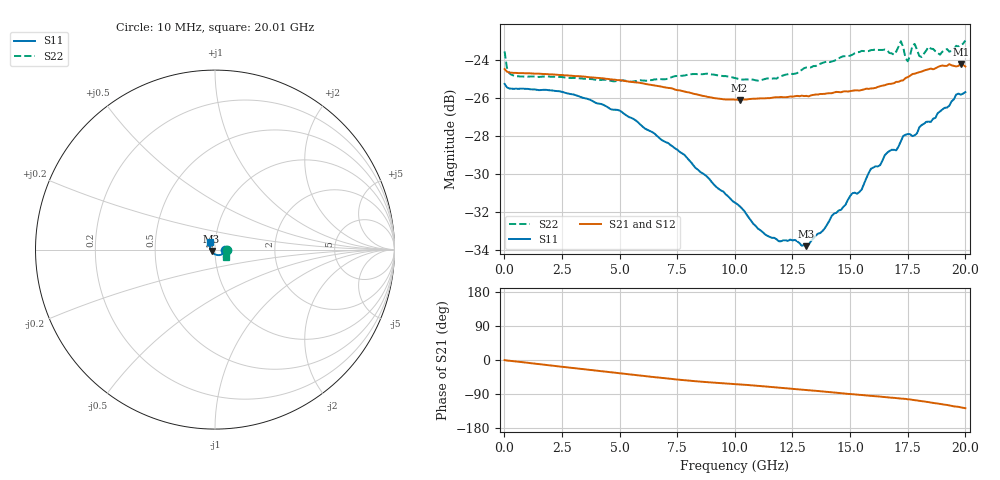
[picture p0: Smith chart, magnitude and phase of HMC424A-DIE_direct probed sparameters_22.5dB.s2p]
!s2p File: Measurements: S11, S21, S12, S22
# GHz S dB R 50.0
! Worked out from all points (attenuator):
!   201 points, 10 MHz to 20.01 GHz, reference 50 ohm
!   highest |S21| = -24.20 dB at 19.81 GHz (marker M1); lowest = -26.1 dB at 10.21 GHz (marker M2)
!   lowest |S11| = -33.8 dB at 13.11 GHz (marker M3), VSWR 1.04, Z = 48.1 - j0.759 ohm
!   |S11| at or under -10 dB: start of sweep to end of sweep
!   |S22| runs from -25.1 to -23.0 dB; largest |S21 - S12| = 0.00061
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0.01  -25.25 -0.2  -24.47 -0.3  -24.46 -0.4  -23.54 -1.8
0.11  -25.43 -1.5  -24.60 -1.4  -24.60 -1.4  -24.40 -4.1
0.31  -25.50 -2.4  -24.66 -2.5  -24.66 -2.5  -24.77 -3.0
3.41  -25.98 -23.6  -24.86 -24.2  -24.86 -24.2  -24.97 -10.2
5.01  -26.66 -36.7  -25.05 -35.2  -25.06 -35.1  -25.08 -13.7
6.71  -28.08 -51.1  -25.37 -46.5  -25.37 -46.5  -25.00 -16.5
10.01  -31.51 -90.3  -26.08 -63.7  -26.08 -63.6  -24.94 -25.6
10.21  -31.69 -93.1  -26.09 -64.5  -26.07 -64.4  -25.01 -25.6
11.41  -33.25 -117.7  -26.00 -70.3  -25.99 -70.3  -24.96 -25.3
13.11  -33.80 -157.3  -25.88 -79.5  -25.86 -79.4  -24.38 -26.2
13.41  -33.40 -164.5  -25.83 -80.7  -25.85 -80.7  -24.31 -26.4
15.51  -30.81 157.1  -25.57 -92.3  -25.54 -92.2  -23.51 -31.9
15.91  -29.72 150.7  -25.49 -94.7  -25.49 -94.5  -23.47 -33.1
16.71  -28.79 140.8  -25.25 -98.9  -25.22 -98.9  -23.62 -36.6
17.21  -28.27 138.8  -25.08 -101.8  -25.03 -102.0  -23.00 -37.6
17.51  -27.89 134.5  -24.89 -103.7  -24.91 -104.1  -24.06 -36.6
17.81  -27.96 132.1  -24.71 -106.0  -24.74 -106.1  -23.14 -37.7
18.11  -27.42 128.9  -24.60 -108.5  -24.65 -108.3  -23.83 -36.5
18.41  -27.24 126.5  -24.48 -111.1  -24.52 -111.1  -23.30 -36.6
18.91  -26.70 126.2  -24.31 -115.8  -24.31 -115.6  -23.71 -36.3
19.81  -25.82 124.2  -24.20 -124.9  -24.20 -124.7  -23.20 -34.4
20.01  -25.68 125.5  -24.33 -127.3  -24.30 -127.3  -22.96 -33.5
